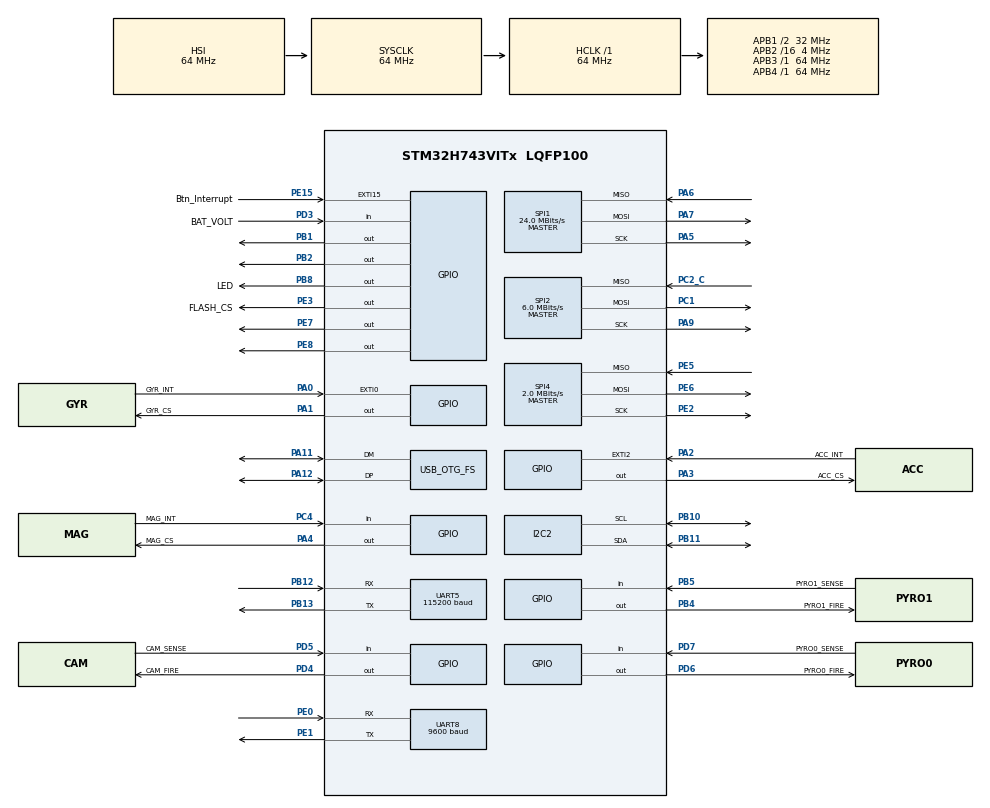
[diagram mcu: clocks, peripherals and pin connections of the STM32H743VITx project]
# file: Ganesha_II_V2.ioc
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Dma.Request0=UART8_RX
Dma.UART8_RX.0.Direction=DMA_PERIPH_TO_MEMORY
Dma.UART8_RX.0.EventEnable=DISABLE
Dma.UART8_RX.0.FIFOMode=DMA_FIFOMODE_DISABLE
Dma.UART8_RX.0.Instance=DMA1_Stream0
Dma.UART8_RX.0.MemDataAlignment=DMA_MDATAALIGN_BYTE
Dma.UART8_RX.0.MemInc=DMA_MINC_ENABLE
Dma.UART8_RX.0.Mode=DMA_CIRCULAR
Dma.UART8_RX.0.PeriphDataAlignment=DMA_PDATAALIGN_BYTE
Dma.UART8_RX.0.PeriphInc=DMA_PINC_DISABLE
Dma.UART8_RX.0.Polarity=HAL_DMAMUX_REQ_GEN_RISING
Dma.UART8_RX.0.Priority=DMA_PRIORITY_LOW
Dma.UART8_RX.0.RequestNumber=1
Dma.UART8_RX.0.SignalID=NONE
Dma.UART8_RX.0.SyncEnable=DISABLE
Dma.UART8_RX.0.SyncPolarity=HAL_DMAMUX_SYNC_NO_EVENT
Dma.UART8_RX.0.SyncRequestNumber=1
Dma.UART8_RX.0.SyncSignalID=NONE
I2C2.Timing=0x00707CBB
Mcu.Family=STM32H7
Mcu.Name=STM32H743VITx
Mcu.Package=LQFP100
NVIC.DMA1_Stream0_IRQn=true\:0\:0\:false\:false\:true\:false\:true\:true
NVIC.EXTI0_IRQn=true\:0\:0\:false\:false\:true\:true\:true\:true
NVIC.EXTI15_10_IRQn=true\:0\:0\:false\:false\:true\:true\:true\:true
NVIC.EXTI2_IRQn=true\:0\:0\:false\:false\:true\:true\:true\:true
NVIC.PriorityGroup=NVIC_PRIORITYGROUP_4
NVIC.TIM1_UP_IRQn=true\:0\:0\:false\:false\:true\:true\:true\:true
NVIC.UART5_IRQn=true\:0\:0\:false\:false\:true\:true\:true\:true
PA0.GPIO_Label=GYR_INT
PA0.Signal=GPXTI0
PA1.GPIO_Label=GYR_CS
PA1.Signal=GPIO_Output
PA11.Mode=Device_Only
PA11.Signal=USB_OTG_FS_DM
PA12.Mode=Device_Only
PA12.Signal=USB_OTG_FS_DP
PA13\ (JTMS/SWDIO).Mode=Trace_Asynchronous_SW
PA13\ (JTMS/SWDIO).Signal=DEBUG_JTMS-SWDIO
PA14\ (JTCK/SWCLK).Mode=Trace_Asynchronous_SW
PA14\ (JTCK/SWCLK).Signal=DEBUG_JTCK-SWCLK
PA2.GPIO_Label=ACC_INT
PA2.Signal=GPXTI2
PA3.GPIO_Label=ACC_CS
PA3.Signal=GPIO_Output
PA4.GPIO_Label=MAG_CS
PA4.Signal=GPIO_Output
PA5.Mode=Full_Duplex_Master
PA5.Signal=SPI1_SCK
PA6.Mode=Full_Duplex_Master
PA6.Signal=SPI1_MISO
PA7.Mode=Full_Duplex_Master
PA7.Signal=SPI1_MOSI
PA9.Mode=Full_Duplex_Master
PA9.Signal=SPI2_SCK
PB1.Signal=GPIO_Output
PB10.Mode=I2C
PB10.Signal=I2C2_SCL
PB11.Mode=I2C
PB11.Signal=I2C2_SDA
PB12.Mode=Asynchronous
PB12.Signal=UART5_RX
PB13.Mode=Asynchronous
PB13.Signal=UART5_TX
PB2.Signal=GPIO_Output
PB3\ (JTDO/TRACESWO).Mode=Trace_Asynchronous_SW
PB3\ (JTDO/TRACESWO).Signal=DEBUG_JTDO-SWO
PB4\ (NJTRST).GPIO_Label=PYRO1_FIRE
PB4\ (NJTRST).Signal=GPIO_Output
PB5.GPIO_Label=PYRO1_SENSE
PB5.Signal=GPIO_Input
PB8.GPIO_Label=LED
PB8.Signal=GPIO_Output
PC1.Mode=Full_Duplex_Master
PC1.Signal=SPI2_MOSI
PC2_C.Mode=Full_Duplex_Master
PC2_C.Signal=SPI2_MISO
PC4.GPIO_Label=MAG_INT
PC4.Signal=GPIO_Input
PD3.GPIO_Label=BAT_VOLT
PD3.Signal=GPIO_Input
PD4.GPIO_Label=CAM_FIRE
PD4.Signal=GPIO_Output
PD5.GPIO_Label=CAM_SENSE
PD5.Signal=GPIO_Input
PD6.GPIO_Label=PYRO0_FIRE
PD6.Signal=GPIO_Output
PD7.GPIO_Label=PYRO0_SENSE
PD7.Signal=GPIO_Input
PE0.Mode=Asynchronous
PE0.Signal=UART8_RX
PE1.Mode=Asynchronous
PE1.Signal=UART8_TX
PE15.GPIO_Label=Btn_Interrupt
PE15.Signal=GPXTI15
PE2.Mode=Full_Duplex_Master
PE2.Signal=SPI4_SCK
PE3.GPIO_Label=FLASH_CS
PE3.Signal=GPIO_Output
PE5.Mode=Full_Duplex_Master
PE5.Signal=SPI4_MISO
PE6.Mode=Full_Duplex_Master
PE6.Signal=SPI4_MOSI
PE7.Signal=GPIO_Output
PE8.Signal=GPIO_Output
PH0-OSC_IN\ (PH0).Mode=HSE-External-Oscillator
PH0-OSC_IN\ (PH0).Signal=RCC_OSC_IN
PH1-OSC_OUT\ (PH1).Mode=HSE-External-Oscillator
PH1-OSC_OUT\ (PH1).Signal=RCC_OSC_OUT
ProjectManager.HeapSize=0x200
ProjectManager.StackSize=0x400
ProjectManager.TargetToolchain=CMake
RCC.ADCFreq_Value=50390625
RCC.APB1Freq_Value=32000000
RCC.APB2Freq_Value=4000000
RCC.APB3Freq_Value=64000000
RCC.APB4Freq_Value=64000000
RCC.CortexFreq_Value=64000000
RCC.D2PPRE1=RCC_APB1_DIV2
RCC.D2PPRE2=RCC_APB2_DIV16
RCC.DIVM1=5
RCC.DIVN1=48
RCC.DIVQ1=5
RCC.FLatency-AdvancedSettings=FLASH_LATENCY_0
RCC.HCLKFreq_Value=64000000
RCC.HSE_VALUE=25000000
RCC.PLL1_VCI_Range-AdvancedSettings=RCC_PLL1VCIRANGE_0
RCC.PLL2FRACN=0
RCC.PLL3FRACN=0
RCC.PLL3_VCI_Range-AdvancedSettings=RCC_PLL3VCIRANGE_3
RCC.PLLFRACN=0
RCC.SYSCLKFreq_VALUE=64000000
RCC.USBFreq_Value=48000000
SPI1.CalculateBaudRate=24.0 MBits/s
SPI1.Direction=SPI_DIRECTION_2LINES
SPI1.Mode=SPI_MODE_MASTER
SPI1.VirtualType=VM_MASTER
SPI2.BaudRatePrescaler=SPI_BAUDRATEPRESCALER_8
SPI2.CalculateBaudRate=6.0 MBits/s
SPI2.DataSize=SPI_DATASIZE_8BIT
SPI2.Direction=SPI_DIRECTION_2LINES
SPI2.Mode=SPI_MODE_MASTER
SPI2.VirtualType=VM_MASTER
SPI4.CalculateBaudRate=2.0 MBits/s
SPI4.Direction=SPI_DIRECTION_2LINES
SPI4.Mode=SPI_MODE_MASTER
SPI4.VirtualType=VM_MASTER
STMicroelectronics.X-CUBE-ALGOBUILD.1.4.0.LibraryCcDSPOoLibraryJjDSPOoLibrary=true
TIM1.ClockDivision=TIM_CLOCKDIVISION_DIV2
TIM1.Period=65535
TIM1.Prescaler=18310-1
TIM2.Prescaler=63
UART5.BaudRate=115200
UART5.Parity=PARITY_NONE
UART5.WordLength=WORDLENGTH_8B
UART8.BaudRate=9600
USB_OTG_FS.VirtualMode=Device_Only
VP_CRC_VS_CRC.Mode=CRC_Activate
VP_MEMORYMAP_VS_MEMORYMAP.Mode=CurAppReg
VP_STMicroelectronics.X-CUBE-ALGOBUILD_VS_DSPOoLibraryJjLibrary_1.4.0_1.4.0.Mode=DSPOoLibraryJjLibrary
VP_TIM1_VS_ClockSourceINT.Mode=Internal
VP_TIM2_VS_ClockSourceINT.Mode=Internal
board=custom

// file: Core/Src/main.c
/* USER CODE BEGIN Header */
/**
  ******************************************************************************
  * @file           : main.c
  * @brief          : Main program body
  * @author 		: Mahir Shah (mahir.shah@rutgers.edu), Tyler-Odeh Abbassi (tfa21@scarletmail.rutgers.edu)
  ******************************************************************************
  * @attention
  *
  *
  * Copyright (c) 2025 STMicroelectronics.
  * All rights reserved.
  *
  * This software is licensed under terms that can be found in the LICENSE file
  * in the root directory of this software component.
  * If no LICENSE file comes with this software, it is provided AS-IS.
  *
  ******************************************************************************
  */
/* USER CODE END Header */
#include "main.h"

/* USER CODE BEGIN Includes */
#include "bmi08_defs.h"
#include "bmi088.h"
#include "CD-PA1616S.h"
#include "bmp581.h"
#include <stdio.h>
#include <stdlib.h>
#include <string.h>
#include <stdint.h>
#include "STRUCTS.h"
#include "orientation_estimator.h"
#include "dumb_timer.h"
#include "us_timer.h"
/* USER CODE END Includes */

CRC_HandleTypeDef hcrc;

I2C_HandleTypeDef hi2c2;

SPI_HandleTypeDef hspi1;
SPI_HandleTypeDef hspi2;
SPI_HandleTypeDef hspi4;

TIM_HandleTypeDef htim1;
TIM_HandleTypeDef htim2;

UART_HandleTypeDef huart5;
UART_HandleTypeDef huart8;
DMA_HandleTypeDef hdma_uart8_rx;

PCD_HandleTypeDef hpcd_USB_OTG_FS;

/* USER CODE BEGIN PV */
//char gps_receive_buffer[BUFFER_SIZE];
//uint8_t gps_dma_buffer[BUFFER_SIZE];

/* USER CODE END PV */

void SystemClock_Config(void);
static void MX_GPIO_Init(void);
static void MX_DMA_Init(void);
static void MX_I2C2_Init(void);
static void MX_SPI1_Init(void);
static void MX_SPI4_Init(void);
static void MX_UART5_Init(void);
static void MX_UART8_Init(void);
static void MX_USB_OTG_FS_PCD_Init(void);
static void MX_SPI2_Init(void);
static void MX_TIM1_Init(void);
static void MX_CRC_Init(void);
static void MX_TIM2_Init(void);

/* USER CODE BEGIN 0 */
uint8_t camera_buffer[4];
uint8_t camera_fired = 0;
ganesha_II_packet packet;

struct Dumb_Timer camera_timer;

struct BMP581 bmp581;
struct bmp5_sensor_data bmp_data;
uint8_t bmp581_init_ok = 0;

void HAL_UART_RxCpltCallback(UART_HandleTypeDef *huart){
if(huart->Instance == UART5){
	if(memcmp(camera_buffer, "FIRE", 4) == 0){
			HAL_GPIO_TogglePin(GPIOD, CAM_FIRE_Pin);
			// Timer started
			dumb_timer_clear(&camera_timer);
			dumb_timer_start(&camera_timer);
			camera_fired ^= 1;

		}
	   // __HAL_UART_CLEAR_OREFLAG(&huart5);
		//HAL_UART_Receive_IT(&huart5, camera_buffer, 4);
	}
	__HAL_UART_CLEAR_OREFLAG(&huart5);
	HAL_UART_Receive_IT(&huart5, camera_buffer, 4);
}

uint32_t calculate_checksum(const uint8_t *data, size_t length) {
    return HAL_CRC_Calculate(&hcrc, (uint32_t *)data, length);
}

// Triggers when the timer has run, shutdowns the camera
void HAL_TIM_PeriodElapsedCallback(TIM_HandleTypeDef *htim){
//  if (camera_fired == 1){
//    //  Timer Stopped
//    HAL_TIM_Base_Stop_IT(&htim1);
//    // Camera Stopped
//    HAL_GPIO_TogglePin(GPIOD, CAM_FIRE_Pin);
//    camera_fired ^= 1;
//  }

	// Timer Notes
	// Prescaler = 999, Counter = 3999, APB2 Timer Clock = 8MHZ, Div By 2, Time = 0.5s
	//Prescaler = 999, Counter = 7999, APB2 Timer Clock = 8MHZ, Div By 2, Time = 1s
	//Prescaler = 59999, Counter = 9999, APB2 Timer Clock = 8MHZ, Div By 2, Time = 180s
}

uint8_t bmi088_init_ok = 0;
struct BMI088 bmi088;
struct bmi08_sensor_data bmi088_accel_data;
struct bmi08_sensor_data bmi088_gyro_data;
volatile uint8_t accel_ready;
volatile uint8_t gyro_ready;

void HAL_GPIO_EXTI_Callback(uint16_t pin) {
	if (pin == BMI088_GYRO_INT_PIN) {
		if (bmi088_init_ok == 0) return;

		if (!gyro_ready){
			gyro_ready = 1;
		}

	} else if (pin == BMI088_ACCEL_INT_PIN) {
		if (bmi088_init_ok == 0) return;

		if (!accel_ready){
			accel_ready = 1;
		}

	}

	__HAL_GPIO_EXTI_CLEAR_FLAG(pin);
}

struct Orientation_Estimator estimator;
uint8_t orientation_estimator_initialized = 0;

uint8_t altitude_estimator_initialized = 0;
/* USER CODE END 0 */

int main(void)
{

  /* USER CODE BEGIN 1 */
	  char uart_buf[50];
	  int uart_buf_len;
	  uint16_t timer_val;

  /* USER CODE END 1 */

  /* MCU Configuration--------------------------------------------------------*/

  /* Reset of all peripherals, Initializes the Flash interface and the Systick. */
  HAL_Init();

  /* Configure the system clock */
  SystemClock_Config();

  /* Initialize all configured peripherals */
  MX_GPIO_Init();
  MX_DMA_Init();
  MX_I2C2_Init();
  MX_SPI1_Init();
  MX_SPI4_Init();
  MX_UART5_Init();
  MX_UART8_Init();
  MX_USB_OTG_FS_PCD_Init();
  MX_SPI2_Init();
  MX_TIM1_Init();
  MX_CRC_Init();
  MX_TIM2_Init();
  /* USER CODE BEGIN 2 */

  us_timer_init();

  GPS_Init();

  dumb_timer_init(&camera_timer, HRS_TO_MS(2));

  uint32_t prev_baro_read_time = HAL_GetTick();

  uint8_t bmi088_init_try_count = 1;

  while (bmi088_init_ok == 0 && bmi088_init_try_count <= 3) {
	  if (bmi088_init(&bmi088, &hspi2) == BMI08_OK) {
		  bmi088_init_ok = 1;
		  break;
	  } else {
		  bmi088_init_try_count++;
		  HAL_Delay(500);
	  }
  }

  if (bmp581_init(&bmp581, &hi2c2) == BMP5_OK) {
	  bmp581_init_ok = 1;
  }

  short magic = 0xBEEF;
  packet.magic = magic;

  packet.status = 0;
      packet.time_us =0;
      packet.main_voltage_v = 0.0f;
      packet.pyro_voltage_v = 0.0f;
      packet.numSatellites = 0;
      packet.gpsFixType = 0;
      packet.latitude_degrees = 0.0f;
      packet.longitude_degrees = 0.0f;
      packet.gps_hMSL_m = 0.0f;
      packet.barometer_hMSL_m = 0.0f;
      packet.temperature_c = 0.0f;
      packet.acceleration_x_mss = 0.0f;
      packet.acceleration_y_mss = 0.0f;
      packet.acceleration_z_mss = 0.0f;
      packet.angular_velocity_x_rads = 0.0f;
      packet.angular_velocity_y_rads = 0.0f;
      packet.angular_velocity_z_rads = 0.0f;
      packet.gauss_x = 0.0f;
      packet.gauss_y = 0.0f;
      packet.gauss_z = 0.0f;
      packet.kf_acceleration_mss = 0.0f;
      packet.kf_velocity_ms = 0.0f;
      packet.kf_position_m = 0.0f;
      packet.w = 0.0f;
      packet.x = 0.0f;
      packet.y = 0.0f;
      packet.z = 0.0f;
      packet.checksum = 0;

      __HAL_UART_CLEAR_OREFLAG(&huart5);
      HAL_UART_Receive_IT(&huart5, camera_buffer, 4);

  /* USER CODE END 2 */

  /* Infinite loop */
  /* USER CODE BEGIN WHILE */
      while (1)
      {
//    	    // If enough time has passed (1 second), toggle LED and get new timestamp
//    	    if (__HAL_TIM_GET_COUNTER(&htim17) - timer_val >= 10000)
//    	    {
//    	      HAL_GPIO_TogglePin(GPIOB, LED_Pin);
//    	      timer_val = __HAL_TIM_GET_COUNTER(&htim17);
//      }
    /* USER CODE END WHILE */

    /* USER CODE BEGIN 3 */

	  packet.latitude_degrees = gps_packet.latitude_degrees;
	  packet.longitude_degrees = gps_packet.longitude_degrees;
	  packet.numSatellites = gps_packet.numSatellites;
	  packet.gpsFixType = gps_packet.gpsFixType;
	  packet.gps_hMSL_m = gps_packet.gps_hMSL_m;

	  if (accel_ready && gyro_ready){

		  bmi088_update_gyro_data(&bmi088, &bmi088_gyro_data);
		  bmi088_update_accel_data(&bmi088, &bmi088_accel_data);

		  packet.acceleration_x_mss = bmi088_convert_accel_axis_data(&bmi088, bmi088_accel_data.x);
		  packet.acceleration_y_mss = bmi088_convert_accel_axis_data(&bmi088, bmi088_accel_data.y);
		  packet.acceleration_z_mss = bmi088_convert_accel_axis_data(&bmi088, bmi088_accel_data.z);

		  packet.angular_velocity_x_rads = bmi088_convert_gyro_axis_data(&bmi088, bmi088_gyro_data.x);
		  packet.angular_velocity_y_rads = bmi088_convert_gyro_axis_data(&bmi088, bmi088_gyro_data.y);
		  packet.angular_velocity_z_rads = bmi088_convert_gyro_axis_data(&bmi088, bmi088_gyro_data.z);

		  if (!orientation_estimator_initialized) {
			  orientation_estimator_reset_from_accel(&estimator, packet.acceleration_x_mss, packet.acceleration_y_mss, packet.acceleration_z_mss);
			  orientation_estimator_initialized = 1;
		  }

		  orientation_estimator_add_gyro_reading(
			  &estimator,
			  packet.angular_velocity_x_rads,
			  packet.angular_velocity_y_rads,
			  packet.angular_velocity_z_rads
		  );

		  packet.w = orientation_estimator_get_w(&estimator);
		  packet.x = -orientation_estimator_get_x(&estimator);
		  packet.y = -orientation_estimator_get_y(&estimator);
		  packet.z = -orientation_estimator_get_z(&estimator);

		  accel_ready = 0;
		  gyro_ready = 0;

	  }

	  uint32_t current_time = HAL_GetTick();

	  if (current_time - prev_baro_read_time >= 2) {
	      prev_baro_read_time = current_time;
		  bmp581_update_data(&bmp581, &bmp_data);
	  }

	  if (!altitude_estimator_initialized && (bmp_data.pressure && bmp_data.temperature)) {
		  bmp581_init_altitude_estimator(&bmp581, &bmp_data);
		  altitude_estimator_initialized = 1;
	  }

	  packet.barometer_hMSL_m = bmp581_estimate_altitude_relative(&bmp581, &bmp_data);
	  packet.temperature_c = bmp_data.temperature;

	  if (dumb_timer_done(&camera_timer)) {
		  dumb_timer_clear(&camera_timer);

		  HAL_GPIO_TogglePin(GPIOD, CAM_FIRE_Pin);
		  camera_fired ^= 1;
	  }

	  if (camera_fired == 1){
		  packet.status = 1;
	  } else {
		  packet.status = 0;
	  }

	  packet.kf_position_m = bmp_data.pressure;

	  packet.time_us = get_time_us();
	  packet.checksum = calculate_checksum((const uint8_t *)&packet+sizeof(short), sizeof(packet)-6);

	  HAL_UART_Transmit(&huart5, (uint8_t*)&packet, sizeof(packet), HAL_MAX_DELAY);

	  HAL_GPIO_TogglePin(GPIOB, LED_Pin);
  }
  /* USER CODE END 3 */
}

void SystemClock_Config(void)
{
  RCC_OscInitTypeDef RCC_OscInitStruct = {0};
  RCC_ClkInitTypeDef RCC_ClkInitStruct = {0};

  /** Supply configuration update enable
  */
  HAL_PWREx_ConfigSupply(PWR_LDO_SUPPLY);

  /** Configure the main internal regulator output voltage
  */
  __HAL_PWR_VOLTAGESCALING_CONFIG(PWR_REGULATOR_VOLTAGE_SCALE3);

  while(!__HAL_PWR_GET_FLAG(PWR_FLAG_VOSRDY)) {}

  /** Initializes the RCC Oscillators according to the specified parameters
  * in the RCC_OscInitTypeDef structure.
  */
  RCC_OscInitStruct.OscillatorType = RCC_OSCILLATORTYPE_HSI|RCC_OSCILLATORTYPE_HSE;
  RCC_OscInitStruct.HSEState = RCC_HSE_ON;
  RCC_OscInitStruct.HSIState = RCC_HSI_DIV1;
  RCC_OscInitStruct.HSICalibrationValue = RCC_HSICALIBRATION_DEFAULT;
  RCC_OscInitStruct.PLL.PLLState = RCC_PLL_ON;
  RCC_OscInitStruct.PLL.PLLSource = RCC_PLLSOURCE_HSE;
  RCC_OscInitStruct.PLL.PLLM = 5;
  RCC_OscInitStruct.PLL.PLLN = 48;
  RCC_OscInitStruct.PLL.PLLP = 2;
  RCC_OscInitStruct.PLL.PLLQ = 5;
  RCC_OscInitStruct.PLL.PLLR = 2;
  RCC_OscInitStruct.PLL.PLLRGE = RCC_PLL1VCIRANGE_2;
  RCC_OscInitStruct.PLL.PLLVCOSEL = RCC_PLL1VCOWIDE;
  RCC_OscInitStruct.PLL.PLLFRACN = 0;
  if (HAL_RCC_OscConfig(&RCC_OscInitStruct) != HAL_OK)
  {
    Error_Handler();
  }

  /** Initializes the CPU, AHB and APB buses clocks
  */
  RCC_ClkInitStruct.ClockType = RCC_CLOCKTYPE_HCLK|RCC_CLOCKTYPE_SYSCLK
                              |RCC_CLOCKTYPE_PCLK1|RCC_CLOCKTYPE_PCLK2
                              |RCC_CLOCKTYPE_D3PCLK1|RCC_CLOCKTYPE_D1PCLK1;
  RCC_ClkInitStruct.SYSCLKSource = RCC_SYSCLKSOURCE_HSI;
  RCC_ClkInitStruct.SYSCLKDivider = RCC_SYSCLK_DIV1;
  RCC_ClkInitStruct.AHBCLKDivider = RCC_HCLK_DIV1;
  RCC_ClkInitStruct.APB3CLKDivider = RCC_APB3_DIV1;
  RCC_ClkInitStruct.APB1CLKDivider = RCC_APB1_DIV2;
  RCC_ClkInitStruct.APB2CLKDivider = RCC_APB2_DIV16;
  RCC_ClkInitStruct.APB4CLKDivider = RCC_APB4_DIV1;

  if (HAL_RCC_ClockConfig(&RCC_ClkInitStruct, FLASH_LATENCY_1) != HAL_OK)
  {
    Error_Handler();
  }
}

static void MX_CRC_Init(void)
{

  hcrc.Instance = CRC;
  hcrc.Init.DefaultPolynomialUse = DEFAULT_POLYNOMIAL_ENABLE;
  hcrc.Init.DefaultInitValueUse = DEFAULT_INIT_VALUE_ENABLE;
  hcrc.Init.InputDataInversionMode = CRC_INPUTDATA_INVERSION_NONE;
  hcrc.Init.OutputDataInversionMode = CRC_OUTPUTDATA_INVERSION_DISABLE;
  hcrc.InputDataFormat = CRC_INPUTDATA_FORMAT_BYTES;
  if (HAL_CRC_Init(&hcrc) != HAL_OK)
  {
    Error_Handler();
  }

}

static void MX_I2C2_Init(void)
{

  hi2c2.Instance = I2C2;
  hi2c2.Init.Timing = 0x00707CBB;
  hi2c2.Init.OwnAddress1 = 0;
  hi2c2.Init.AddressingMode = I2C_ADDRESSINGMODE_7BIT;
  hi2c2.Init.DualAddressMode = I2C_DUALADDRESS_DISABLE;
  hi2c2.Init.OwnAddress2 = 0;
  hi2c2.Init.OwnAddress2Masks = I2C_OA2_NOMASK;
  hi2c2.Init.GeneralCallMode = I2C_GENERALCALL_DISABLE;
  hi2c2.Init.NoStretchMode = I2C_NOSTRETCH_DISABLE;
  if (HAL_I2C_Init(&hi2c2) != HAL_OK)
  {
    Error_Handler();
  }

  /** Configure Analogue filter
  */
  if (HAL_I2CEx_ConfigAnalogFilter(&hi2c2, I2C_ANALOGFILTER_ENABLE) != HAL_OK)
  {
    Error_Handler();
  }

  /** Configure Digital filter
  */
  if (HAL_I2CEx_ConfigDigitalFilter(&hi2c2, 0) != HAL_OK)
  {
    Error_Handler();
  }

}

static void MX_SPI1_Init(void)
{

  /* SPI1 parameter configuration*/
  hspi1.Instance = SPI1;
  hspi1.Init.Mode = SPI_MODE_MASTER;
  hspi1.Init.Direction = SPI_DIRECTION_2LINES;
  hspi1.Init.DataSize = SPI_DATASIZE_4BIT;
  hspi1.Init.CLKPolarity = SPI_POLARITY_LOW;
  hspi1.Init.CLKPhase = SPI_PHASE_1EDGE;
  hspi1.Init.NSS = SPI_NSS_SOFT;
  hspi1.Init.BaudRatePrescaler = SPI_BAUDRATEPRESCALER_2;
  hspi1.Init.FirstBit = SPI_FIRSTBIT_MSB;
  hspi1.Init.TIMode = SPI_TIMODE_DISABLE;
  hspi1.Init.CRCCalculation = SPI_CRCCALCULATION_DISABLE;
  hspi1.Init.CRCPolynomial = 0x0;
  hspi1.Init.NSSPMode = SPI_NSS_PULSE_ENABLE;
  hspi1.Init.NSSPolarity = SPI_NSS_POLARITY_LOW;
  hspi1.Init.FifoThreshold = SPI_FIFO_THRESHOLD_01DATA;
  hspi1.Init.TxCRCInitializationPattern = SPI_CRC_INITIALIZATION_ALL_ZERO_PATTERN;
  hspi1.Init.RxCRCInitializationPattern = SPI_CRC_INITIALIZATION_ALL_ZERO_PATTERN;
  hspi1.Init.MasterSSIdleness = SPI_MASTER_SS_IDLENESS_00CYCLE;
  hspi1.Init.MasterInterDataIdleness = SPI_MASTER_INTERDATA_IDLENESS_00CYCLE;
  hspi1.Init.MasterReceiverAutoSusp = SPI_MASTER_RX_AUTOSUSP_DISABLE;
  hspi1.Init.MasterKeepIOState = SPI_MASTER_KEEP_IO_STATE_DISABLE;
  hspi1.Init.IOSwap = SPI_IO_SWAP_DISABLE;
  if (HAL_SPI_Init(&hspi1) != HAL_OK)
  {
    Error_Handler();
  }

}

static void MX_SPI2_Init(void)
{

  /* SPI2 parameter configuration*/
  hspi2.Instance = SPI2;
  hspi2.Init.Mode = SPI_MODE_MASTER;
  hspi2.Init.Direction = SPI_DIRECTION_2LINES;
  hspi2.Init.DataSize = SPI_DATASIZE_8BIT;
  hspi2.Init.CLKPolarity = SPI_POLARITY_LOW;
  hspi2.Init.CLKPhase = SPI_PHASE_1EDGE;
  hspi2.Init.NSS = SPI_NSS_SOFT;
  hspi2.Init.BaudRatePrescaler = SPI_BAUDRATEPRESCALER_8;
  hspi2.Init.FirstBit = SPI_FIRSTBIT_MSB;
  hspi2.Init.TIMode = SPI_TIMODE_DISABLE;
  hspi2.Init.CRCCalculation = SPI_CRCCALCULATION_DISABLE;
  hspi2.Init.CRCPolynomial = 0x0;
  hspi2.Init.NSSPMode = SPI_NSS_PULSE_ENABLE;
  hspi2.Init.NSSPolarity = SPI_NSS_POLARITY_LOW;
  hspi2.Init.FifoThreshold = SPI_FIFO_THRESHOLD_01DATA;
  hspi2.Init.TxCRCInitializationPattern = SPI_CRC_INITIALIZATION_ALL_ZERO_PATTERN;
  hspi2.Init.RxCRCInitializationPattern = SPI_CRC_INITIALIZATION_ALL_ZERO_PATTERN;
  hspi2.Init.MasterSSIdleness = SPI_MASTER_SS_IDLENESS_00CYCLE;
  hspi2.Init.MasterInterDataIdleness = SPI_MASTER_INTERDATA_IDLENESS_00CYCLE;
  hspi2.Init.MasterReceiverAutoSusp = SPI_MASTER_RX_AUTOSUSP_DISABLE;
  hspi2.Init.MasterKeepIOState = SPI_MASTER_KEEP_IO_STATE_DISABLE;
  hspi2.Init.IOSwap = SPI_IO_SWAP_DISABLE;
  if (HAL_SPI_Init(&hspi2) != HAL_OK)
  {
    Error_Handler();
  }

}

static void MX_SPI4_Init(void)
{

  /* SPI4 parameter configuration*/
  hspi4.Instance = SPI4;
  hspi4.Init.Mode = SPI_MODE_MASTER;
  hspi4.Init.Direction = SPI_DIRECTION_2LINES;
  hspi4.Init.DataSize = SPI_DATASIZE_4BIT;
  hspi4.Init.CLKPolarity = SPI_POLARITY_LOW;
  hspi4.Init.CLKPhase = SPI_PHASE_1EDGE;
  hspi4.Init.NSS = SPI_NSS_SOFT;
  hspi4.Init.BaudRatePrescaler = SPI_BAUDRATEPRESCALER_2;
  hspi4.Init.FirstBit = SPI_FIRSTBIT_MSB;
  hspi4.Init.TIMode = SPI_TIMODE_DISABLE;
  hspi4.Init.CRCCalculation = SPI_CRCCALCULATION_DISABLE;
  hspi4.Init.CRCPolynomial = 0x0;
  hspi4.Init.NSSPMode = SPI_NSS_PULSE_ENABLE;
  hspi4.Init.NSSPolarity = SPI_NSS_POLARITY_LOW;
  hspi4.Init.FifoThreshold = SPI_FIFO_THRESHOLD_01DATA;
  hspi4.Init.TxCRCInitializationPattern = SPI_CRC_INITIALIZATION_ALL_ZERO_PATTERN;
  hspi4.Init.RxCRCInitializationPattern = SPI_CRC_INITIALIZATION_ALL_ZERO_PATTERN;
  hspi4.Init.MasterSSIdleness = SPI_MASTER_SS_IDLENESS_00CYCLE;
  hspi4.Init.MasterInterDataIdleness = SPI_MASTER_INTERDATA_IDLENESS_00CYCLE;
  hspi4.Init.MasterReceiverAutoSusp = SPI_MASTER_RX_AUTOSUSP_DISABLE;
  hspi4.Init.MasterKeepIOState = SPI_MASTER_KEEP_IO_STATE_DISABLE;
  hspi4.Init.IOSwap = SPI_IO_SWAP_DISABLE;
  if (HAL_SPI_Init(&hspi4) != HAL_OK)
  {
    Error_Handler();
  }

}

static void MX_TIM1_Init(void)
{

  TIM_ClockConfigTypeDef sClockSourceConfig = {0};
  TIM_MasterConfigTypeDef sMasterConfig = {0};

  htim1.Instance = TIM1;
  htim1.Init.Prescaler = 18310-1;
  htim1.Init.CounterMode = TIM_COUNTERMODE_UP;
  htim1.Init.Period = 65535;
  htim1.Init.ClockDivision = TIM_CLOCKDIVISION_DIV2;
  htim1.Init.RepetitionCounter = 0;
  htim1.Init.AutoReloadPreload = TIM_AUTORELOAD_PRELOAD_DISABLE;
  if (HAL_TIM_Base_Init(&htim1) != HAL_OK)
  {
    Error_Handler();
  }
  sClockSourceConfig.ClockSource = TIM_CLOCKSOURCE_INTERNAL;
  if (HAL_TIM_ConfigClockSource(&htim1, &sClockSourceConfig) != HAL_OK)
  {
    Error_Handler();
  }
  sMasterConfig.MasterOutputTrigger = TIM_TRGO_RESET;
  sMasterConfig.MasterOutputTrigger2 = TIM_TRGO2_RESET;
  sMasterConfig.MasterSlaveMode = TIM_MASTERSLAVEMODE_DISABLE;
  if (HAL_TIMEx_MasterConfigSynchronization(&htim1, &sMasterConfig) != HAL_OK)
  {
    Error_Handler();
  }

}

static void MX_TIM2_Init(void)
{

  TIM_ClockConfigTypeDef sClockSourceConfig = {0};
  TIM_MasterConfigTypeDef sMasterConfig = {0};

  htim2.Instance = TIM2;
  htim2.Init.Prescaler = 63;
  htim2.Init.CounterMode = TIM_COUNTERMODE_UP;
  htim2.Init.Period = 4294967295;
  htim2.Init.ClockDivision = TIM_CLOCKDIVISION_DIV1;
  htim2.Init.AutoReloadPreload = TIM_AUTORELOAD_PRELOAD_DISABLE;
  if (HAL_TIM_Base_Init(&htim2) != HAL_OK)
  {
    Error_Handler();
  }
  sClockSourceConfig.ClockSource = TIM_CLOCKSOURCE_INTERNAL;
  if (HAL_TIM_ConfigClockSource(&htim2, &sClockSourceConfig) != HAL_OK)
  {
    Error_Handler();
  }
  sMasterConfig.MasterOutputTrigger = TIM_TRGO_RESET;
  sMasterConfig.MasterSlaveMode = TIM_MASTERSLAVEMODE_DISABLE;
  if (HAL_TIMEx_MasterConfigSynchronization(&htim2, &sMasterConfig) != HAL_OK)
  {
    Error_Handler();
  }

}

static void MX_UART5_Init(void)
{

  huart5.Instance = UART5;
  huart5.Init.BaudRate = 115200;
  huart5.Init.WordLength = UART_WORDLENGTH_8B;
  huart5.Init.StopBits = UART_STOPBITS_1;
  huart5.Init.Parity = UART_PARITY_NONE;
  huart5.Init.Mode = UART_MODE_TX_RX;
  huart5.Init.HwFlowCtl = UART_HWCONTROL_NONE;
  huart5.Init.OverSampling = UART_OVERSAMPLING_16;
  huart5.Init.OneBitSampling = UART_ONE_BIT_SAMPLE_DISABLE;
  huart5.Init.ClockPrescaler = UART_PRESCALER_DIV1;
  huart5.AdvancedInit.AdvFeatureInit = UART_ADVFEATURE_NO_INIT;
  if (HAL_UART_Init(&huart5) != HAL_OK)
  {
    Error_Handler();
  }
  if (HAL_UARTEx_SetTxFifoThreshold(&huart5, UART_TXFIFO_THRESHOLD_1_8) != HAL_OK)
  {
    Error_Handler();
  }
  if (HAL_UARTEx_SetRxFifoThreshold(&huart5, UART_RXFIFO_THRESHOLD_1_8) != HAL_OK)
  {
    Error_Handler();
  }
  if (HAL_UARTEx_DisableFifoMode(&huart5) != HAL_OK)
  {
    Error_Handler();
  }
  /* USER CODE BEGIN UART5_Init 2 */
  HAL_NVIC_SetPriority(UART5_IRQn, 0, 0);
  HAL_NVIC_EnableIRQ(UART5_IRQn);

  /* USER CODE END UART5_Init 2 */

}

static void MX_UART8_Init(void)
{

  huart8.Instance = UART8;
  huart8.Init.BaudRate = 9600;
  huart8.Init.WordLength = UART_WORDLENGTH_8B;
  huart8.Init.StopBits = UART_STOPBITS_1;
  huart8.Init.Parity = UART_PARITY_NONE;
  huart8.Init.Mode = UART_MODE_TX_RX;
  huart8.Init.HwFlowCtl = UART_HWCONTROL_NONE;
  huart8.Init.OverSampling = UART_OVERSAMPLING_16;
  huart8.Init.OneBitSampling = UART_ONE_BIT_SAMPLE_DISABLE;
  huart8.Init.ClockPrescaler = UART_PRESCALER_DIV1;
  huart8.AdvancedInit.AdvFeatureInit = UART_ADVFEATURE_NO_INIT;
  if (HAL_UART_Init(&huart8) != HAL_OK)
  {
    Error_Handler();
  }
  if (HAL_UARTEx_SetTxFifoThreshold(&huart8, UART_TXFIFO_THRESHOLD_1_8) != HAL_OK)
  {
    Error_Handler();
  }
  if (HAL_UARTEx_SetRxFifoThreshold(&huart8, UART_RXFIFO_THRESHOLD_1_8) != HAL_OK)
  {
    Error_Handler();
  }
  if (HAL_UARTEx_DisableFifoMode(&huart8) != HAL_OK)
  {
    Error_Handler();
  }
  /* USER CODE BEGIN UART8_Init 2 */
  HAL_UARTEx_ReceiveToIdle_DMA(&huart8,(uint8_t*)&gps_dma_buffer, BUFFER_SIZE);

  /* USER CODE END UART8_Init 2 */

}

static void MX_USB_OTG_FS_PCD_Init(void)
{

  hpcd_USB_OTG_FS.Instance = USB_OTG_FS;
  hpcd_USB_OTG_FS.Init.dev_endpoints = 9;
  hpcd_USB_OTG_FS.Init.speed = PCD_SPEED_FULL;
  hpcd_USB_OTG_FS.Init.dma_enable = DISABLE;
  hpcd_USB_OTG_FS.Init.phy_itface = PCD_PHY_EMBEDDED;
  hpcd_USB_OTG_FS.Init.Sof_enable = DISABLE;
  hpcd_USB_OTG_FS.Init.low_power_enable = DISABLE;
  hpcd_USB_OTG_FS.Init.lpm_enable = DISABLE;
  hpcd_USB_OTG_FS.Init.battery_charging_enable = DISABLE;
  hpcd_USB_OTG_FS.Init.vbus_sensing_enable = DISABLE;
  hpcd_USB_OTG_FS.Init.use_dedicated_ep1 = DISABLE;
  if (HAL_PCD_Init(&hpcd_USB_OTG_FS) != HAL_OK)
  {
    Error_Handler();
  }

}

static void MX_DMA_Init(void)
{

  /* DMA controller clock enable */
  __HAL_RCC_DMA1_CLK_ENABLE();

  /* DMA interrupt init */
  /* DMA1_Stream0_IRQn interrupt configuration */
  HAL_NVIC_SetPriority(DMA1_Stream0_IRQn, 0, 0);
  HAL_NVIC_EnableIRQ(DMA1_Stream0_IRQn);

}

static void MX_GPIO_Init(void)
{
  GPIO_InitTypeDef GPIO_InitStruct = {0};

  /* GPIO Ports Clock Enable */
  __HAL_RCC_GPIOE_CLK_ENABLE();
  __HAL_RCC_GPIOH_CLK_ENABLE();
  __HAL_RCC_GPIOC_CLK_ENABLE();
  __HAL_RCC_GPIOA_CLK_ENABLE();
  __HAL_RCC_GPIOB_CLK_ENABLE();
  __HAL_RCC_GPIOD_CLK_ENABLE();

  /*Configure GPIO pin Output Level */
  HAL_GPIO_WritePin(GPIOE, FLASH_CS_Pin|GPIO_PIN_7|GPIO_PIN_8, GPIO_PIN_RESET);

  /*Configure GPIO pin Output Level */
  HAL_GPIO_WritePin(GPIOA, GYR_CS_Pin|ACC_CS_Pin|MAG_CS_Pin, GPIO_PIN_RESET);

  /*Configure GPIO pin Output Level */
  HAL_GPIO_WritePin(GPIOB, GPIO_PIN_1|GPIO_PIN_2|PYRO1_FIRE_Pin|LED_Pin, GPIO_PIN_RESET);

  /*Configure GPIO pin Output Level */
  HAL_GPIO_WritePin(GPIOD, CAM_FIRE_Pin|PYRO0_FIRE_Pin, GPIO_PIN_RESET);

  /*Configure GPIO pins : FLASH_CS_Pin PE7 PE8 */
  GPIO_InitStruct.Pin = FLASH_CS_Pin|GPIO_PIN_7|GPIO_PIN_8;
  GPIO_InitStruct.Mode = GPIO_MODE_OUTPUT_PP;
  GPIO_InitStruct.Pull = GPIO_NOPULL;
  GPIO_InitStruct.Speed = GPIO_SPEED_FREQ_LOW;
  HAL_GPIO_Init(GPIOE, &GPIO_InitStruct);

  /*Configure GPIO pins : GYR_INT_Pin ACC_INT_Pin */
  GPIO_InitStruct.Pin = GYR_INT_Pin|ACC_INT_Pin;
  GPIO_InitStruct.Mode = GPIO_MODE_IT_RISING;
  GPIO_InitStruct.Pull = GPIO_NOPULL;
  HAL_GPIO_Init(GPIOA, &GPIO_InitStruct);

  /*Configure GPIO pins : GYR_CS_Pin ACC_CS_Pin MAG_CS_Pin */
  GPIO_InitStruct.Pin = GYR_CS_Pin|ACC_CS_Pin|MAG_CS_Pin;
  GPIO_InitStruct.Mode = GPIO_MODE_OUTPUT_PP;
  GPIO_InitStruct.Pull = GPIO_NOPULL;
  GPIO_InitStruct.Speed = GPIO_SPEED_FREQ_LOW;
  HAL_GPIO_Init(GPIOA, &GPIO_InitStruct);

  /*Configure GPIO pin : MAG_INT_Pin */
  GPIO_InitStruct.Pin = MAG_INT_Pin;
  GPIO_InitStruct.Mode = GPIO_MODE_INPUT;
  GPIO_InitStruct.Pull = GPIO_NOPULL;
  HAL_GPIO_Init(MAG_INT_GPIO_Port, &GPIO_InitStruct);

  /*Configure GPIO pins : PB1 PB2 PYRO1_FIRE_Pin LED_Pin */
  GPIO_InitStruct.Pin = GPIO_PIN_1|GPIO_PIN_2|PYRO1_FIRE_Pin|LED_Pin;
  GPIO_InitStruct.Mode = GPIO_MODE_OUTPUT_PP;
  GPIO_InitStruct.Pull = GPIO_NOPULL;
  GPIO_InitStruct.Speed = GPIO_SPEED_FREQ_LOW;
  HAL_GPIO_Init(GPIOB, &GPIO_InitStruct);

  /*Configure GPIO pin : Btn_Interrupt_Pin */
  GPIO_InitStruct.Pin = Btn_Interrupt_Pin;
  GPIO_InitStruct.Mode = GPIO_MODE_IT_RISING;
  GPIO_InitStruct.Pull = GPIO_NOPULL;
  HAL_GPIO_Init(Btn_Interrupt_GPIO_Port, &GPIO_InitStruct);

  /*Configure GPIO pins : BAT_VOLT_Pin CAM_SENSE_Pin PYRO0_SENSE_Pin */
  GPIO_InitStruct.Pin = BAT_VOLT_Pin|CAM_SENSE_Pin|PYRO0_SENSE_Pin;
  GPIO_InitStruct.Mode = GPIO_MODE_INPUT;
  GPIO_InitStruct.Pull = GPIO_NOPULL;
  HAL_GPIO_Init(GPIOD, &GPIO_InitStruct);

  /*Configure GPIO pins : CAM_FIRE_Pin PYRO0_FIRE_Pin */
  GPIO_InitStruct.Pin = CAM_FIRE_Pin|PYRO0_FIRE_Pin;
  GPIO_InitStruct.Mode = GPIO_MODE_OUTPUT_PP;
  GPIO_InitStruct.Pull = GPIO_NOPULL;
  GPIO_InitStruct.Speed = GPIO_SPEED_FREQ_LOW;
  HAL_GPIO_Init(GPIOD, &GPIO_InitStruct);

  /*Configure GPIO pin : PYRO1_SENSE_Pin */
  GPIO_InitStruct.Pin = PYRO1_SENSE_Pin;
  GPIO_InitStruct.Mode = GPIO_MODE_INPUT;
  GPIO_InitStruct.Pull = GPIO_NOPULL;
  HAL_GPIO_Init(PYRO1_SENSE_GPIO_Port, &GPIO_InitStruct);

  /*AnalogSwitch Config */
  HAL_SYSCFG_AnalogSwitchConfig(SYSCFG_SWITCH_PA1, SYSCFG_SWITCH_PA1_CLOSE);

  /* EXTI interrupt init*/
  HAL_NVIC_SetPriority(GYR_INT_EXTI_IRQn, 0, 0);
  HAL_NVIC_EnableIRQ(GYR_INT_EXTI_IRQn);

  HAL_NVIC_SetPriority(ACC_INT_EXTI_IRQn, 0, 0);
  HAL_NVIC_EnableIRQ(ACC_INT_EXTI_IRQn);

  HAL_NVIC_SetPriority(Btn_Interrupt_EXTI_IRQn, 0, 0);
  HAL_NVIC_EnableIRQ(Btn_Interrupt_EXTI_IRQn);

}

void Error_Handler(void)
{
  __disable_irq();
  while (1)
  {
  }
}
